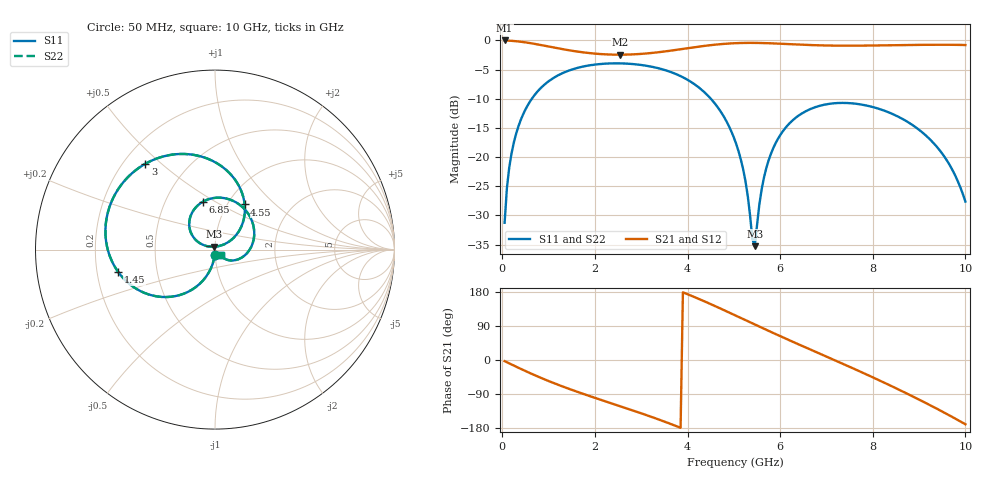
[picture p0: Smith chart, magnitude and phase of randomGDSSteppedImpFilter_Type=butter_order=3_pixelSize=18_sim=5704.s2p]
! freq	dB(S11)	phase(S11)	dB(S12)	phase(S12)
!  dB(S21)	phase(S21)	dB(S22)	phase(S22)
!S-par simulation data
#  GHz  S  DB  R 50
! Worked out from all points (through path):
!   200 points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, 50 MHz to 10 GHz, reference 50 ohm
!   highest |S21| = -0.01 dB at 50 MHz (marker M1); lowest = -2.4 dB at 2.55 GHz (marker M2)
!   group delay of S21, straight-line fit = 144 ps
!   lowest |S11| = -35.3 dB at 5.45 GHz (marker M3), VSWR 1.04, Z = 49.4 + j1.61 ohm
!   |S11| at or under -10 dB: start of sweep to 638.8 MHz; 4.503 GHz to end of sweep
!   |S22| runs from -35.4 to -3.9 dB; largest |S21 - S12| = 0
!   S11 on the Smith chart (normalised r, x): 50 MHz: 1.00, -0.05; 1.45 GHz: 0.29, -0.10; 3 GHz: 0.29, +0.44; 4.55 GHz: 1.20, +0.66; 6.85 GHz: 0.76, +0.44; 10 GHz: 1.06, -0.06
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0.05  -31.26 -93.1  -0.01 -3.0  -0.01 -3.0  -31.26 -93.1
0.1  -25.27 -96.3  -0.02 -6.0  -0.02 -6.0  -25.27 -96.3
0.2  -19.35 -102.4  -0.07 -11.9  -0.07 -11.9  -19.35 -102.4
0.45  -12.67 -116.9  -0.28 -26.3  -0.28 -26.3  -12.67 -116.9
1.45  -5.13 -167.1  -1.70 -76.5  -1.70 -76.5  -5.13 -167.1
1.75  -4.47 180.0  -2.05 -89.5  -2.05 -89.5  -4.47 180.0
2.55  -3.94 147.4  -2.45 -122.2  -2.45 -122.2  -3.94 147.4
3  -4.21 129.1  -2.31 -140.7  -2.31 -140.7  -4.21 129.1
3.4  -4.83 112.0  -2.00 -158.0  -2.00 -158.0  -4.83 112.0
4.05  -6.99 81.9  -1.28 171.2  -1.28 171.2  -6.99 81.9
4.55  -10.43 56.7  -0.77 144.8  -0.77 144.8  -10.43 56.7
5.05  -17.73 33.1  -0.47 116.7  -0.47 116.7  -17.73 33.0
5.25  -24.09 29.8  -0.43 105.3  -0.43 105.3  -24.10 29.5
5.45  -35.27 109.0  -0.42 93.9  -0.42 93.9  -35.42 109.3
5.6  -25.55 157.2  -0.45 85.4  -0.45 85.4  -25.57 157.5
5.85  -18.49 153.4  -0.51 71.3  -0.51 71.3  -18.49 153.6
6.7  -11.61 112.1  -0.81 25.1  -0.81 25.1  -11.61 112.2
6.85  -11.22 104.4  -0.84 17.0  -0.84 17.0  -11.22 104.5
7.6  -10.82 65.3  -0.91 -23.5  -0.91 -23.5  -10.82 65.3
8.35  -12.35 25.1  -0.83 -65.7  -0.83 -65.7  -12.35 25.2
9.15  -16.32 -17.6  -0.75 -113.8  -0.75 -113.8  -16.32 -17.6
10  -27.63 -42.3  -0.79 -169.6  -0.79 -169.6  -27.61 -42.1
